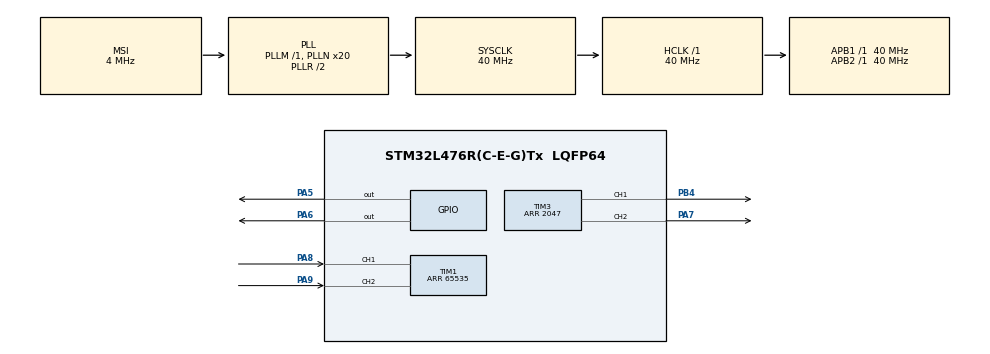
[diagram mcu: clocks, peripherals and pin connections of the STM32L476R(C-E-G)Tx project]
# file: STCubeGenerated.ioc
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Mcu.Family=STM32L4
Mcu.Name=STM32L476R(C-E-G)Tx
Mcu.Package=LQFP64
NVIC.PriorityGroup=NVIC_PRIORITYGROUP_4
PA13\ (JTMS-SWDIO).Mode=Trace_Asynchronous_SW
PA13\ (JTMS-SWDIO).Signal=SYS_JTMS-SWDIO
PA14\ (JTCK-SWCLK).Mode=Trace_Asynchronous_SW
PA14\ (JTCK-SWCLK).Signal=SYS_JTCK-SWCLK
PA5.Signal=GPIO_Output
PA6.Signal=GPIO_Output
PA7.Signal=S_TIM3_CH2
PA8.Signal=S_TIM1_CH1
PA9.Signal=S_TIM1_CH2
PB3\ (JTDO-TRACESWO).Mode=Trace_Asynchronous_SW
PB3\ (JTDO-TRACESWO).Signal=SYS_JTDO-SWO
PB4\ (NJTRST).Signal=S_TIM3_CH1
PH0-OSC_IN\ (PH0).Mode=HSE-External-Oscillator
PH0-OSC_IN\ (PH0).Signal=RCC_OSC_IN
PH1-OSC_OUT\ (PH1).Mode=HSE-External-Oscillator
PH1-OSC_OUT\ (PH1).Signal=RCC_OSC_OUT
ProjectManager.HeapSize=0x200
ProjectManager.StackSize=0x400
ProjectManager.TargetToolchain=MDK-ARM V5
RCC.AHBFreq_Value=40000000
RCC.APB1Freq_Value=40000000
RCC.APB1TimFreq_Value=40000000
RCC.APB2Freq_Value=40000000
RCC.APB2TimFreq_Value=40000000
RCC.CortexFreq_Value=40000000
RCC.HCLKFreq_Value=40000000
RCC.HSE_VALUE=8000000
RCC.HSI_VALUE=16000000
RCC.LSE_VALUE=32768
RCC.MSI_VALUE=4000000
RCC.PLLN=20
RCC.SYSCLKFreq_VALUE=40000000
RCC.SYSCLKSource=RCC_SYSCLKSOURCE_PLLCLK
RCC.VCOOutputFreq_Value=80000000
SH.S_TIM1_CH1.0=TIM1_CH1,Encoder_Interface
SH.S_TIM1_CH2.0=TIM1_CH2,Encoder_Interface
SH.S_TIM3_CH1.0=TIM3_CH1,PWM Generation1 CH1
SH.S_TIM3_CH2.0=TIM3_CH2,PWM Generation2 CH2
TIM1.EncoderMode=TIM_ENCODERMODE_TI12
TIM1.Period=65535
TIM3.Channel-PWM\ Generation1\ CH1=TIM_CHANNEL_1
TIM3.Channel-PWM\ Generation2\ CH2=TIM_CHANNEL_2
TIM3.Period=2047
board=custom

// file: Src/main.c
/* USER CODE BEGIN Header */
/**
  ******************************************************************************
  * @file           : main.c
  * @brief          : Main program body
  ******************************************************************************
  * @attention
  *
  * <h2><center>&copy; Copyright (c) 2026 STMicroelectronics.
  * All rights reserved.</center></h2>
  *
  * This software component is licensed by ST under BSD 3-Clause license,
  * the "License"; You may not use this file except in compliance with the
  * License. You may obtain a copy of the License at:
  *                        opensource.org/licenses/BSD-3-Clause
  *
  ******************************************************************************
  */
/* USER CODE END Header */

#include "main.h"

/* USER CODE BEGIN Includes */
#include <stdio.h>
#include "application.h"
/* USER CODE END Includes */

TIM_HandleTypeDef htim1;
TIM_HandleTypeDef htim3;

void SystemClock_Config(void);
static void MX_GPIO_Init(void);
static void MX_TIM3_Init(void);
static void MX_TIM1_Init(void);

/* USER CODE BEGIN 0 */
inline uint32_t Main_GetTickMillisec(void)
{
#ifdef __RTX
  #if defined (osCMSIS) && (osCMSIS < 0x20000U)
    extern uint32_t os_time;
    return os_time;
  #else
    extern uint32_t osKernelGetTickCount();
    return osKernelGetTickCount();
  #endif
#else
	return HAL_GetTick();
#endif
}
/* USER CODE END 0 */

int main(void)
{

  /* MCU Configuration--------------------------------------------------------*/

  /* Reset of all peripherals, Initializes the Flash interface and the Systick. */
  HAL_Init();

  /* Configure the system clock */
  SystemClock_Config();

  /* Initialize all configured peripherals */
  MX_GPIO_Init();
  MX_TIM3_Init();
  MX_TIM1_Init();
  /* USER CODE BEGIN 2 */
	Application_Setup();
  /* USER CODE END 2 */

  /* Infinite loop */
  /* USER CODE BEGIN WHILE */
  while (1)
  {
		Application_Loop();
    /* USER CODE END WHILE */

  }
}

void SystemClock_Config(void)
{
  RCC_OscInitTypeDef RCC_OscInitStruct = {0};
  RCC_ClkInitTypeDef RCC_ClkInitStruct = {0};

  /** Initializes the CPU, AHB and APB busses clocks
  */
  RCC_OscInitStruct.OscillatorType = RCC_OSCILLATORTYPE_MSI;
  RCC_OscInitStruct.MSIState = RCC_MSI_ON;
  RCC_OscInitStruct.MSICalibrationValue = 0;
  RCC_OscInitStruct.MSIClockRange = RCC_MSIRANGE_6;
  RCC_OscInitStruct.PLL.PLLState = RCC_PLL_ON;
  RCC_OscInitStruct.PLL.PLLSource = RCC_PLLSOURCE_MSI;
  RCC_OscInitStruct.PLL.PLLM = 1;
  RCC_OscInitStruct.PLL.PLLN = 20;
  RCC_OscInitStruct.PLL.PLLP = RCC_PLLP_DIV7;
  RCC_OscInitStruct.PLL.PLLQ = RCC_PLLQ_DIV2;
  RCC_OscInitStruct.PLL.PLLR = RCC_PLLR_DIV2;
  if (HAL_RCC_OscConfig(&RCC_OscInitStruct) != HAL_OK)
  {
    Error_Handler();
  }
  /** Initializes the CPU, AHB and APB busses clocks
  */
  RCC_ClkInitStruct.ClockType = RCC_CLOCKTYPE_HCLK|RCC_CLOCKTYPE_SYSCLK
                              |RCC_CLOCKTYPE_PCLK1|RCC_CLOCKTYPE_PCLK2;
  RCC_ClkInitStruct.SYSCLKSource = RCC_SYSCLKSOURCE_PLLCLK;
  RCC_ClkInitStruct.AHBCLKDivider = RCC_SYSCLK_DIV1;
  RCC_ClkInitStruct.APB1CLKDivider = RCC_HCLK_DIV1;
  RCC_ClkInitStruct.APB2CLKDivider = RCC_HCLK_DIV1;

  if (HAL_RCC_ClockConfig(&RCC_ClkInitStruct, FLASH_LATENCY_2) != HAL_OK)
  {
    Error_Handler();
  }
  /** Configure the main internal regulator output voltage
  */
  if (HAL_PWREx_ControlVoltageScaling(PWR_REGULATOR_VOLTAGE_SCALE1) != HAL_OK)
  {
    Error_Handler();
  }
}

static void MX_TIM1_Init(void)
{

  TIM_Encoder_InitTypeDef sConfig = {0};
  TIM_MasterConfigTypeDef sMasterConfig = {0};

  htim1.Instance = TIM1;
  htim1.Init.Prescaler = 0;
  htim1.Init.CounterMode = TIM_COUNTERMODE_UP;
  htim1.Init.Period = 65535;
  htim1.Init.ClockDivision = TIM_CLOCKDIVISION_DIV1;
  htim1.Init.RepetitionCounter = 0;
  htim1.Init.AutoReloadPreload = TIM_AUTORELOAD_PRELOAD_DISABLE;
  sConfig.EncoderMode = TIM_ENCODERMODE_TI12;
  sConfig.IC1Polarity = TIM_ICPOLARITY_RISING;
  sConfig.IC1Selection = TIM_ICSELECTION_DIRECTTI;
  sConfig.IC1Prescaler = TIM_ICPSC_DIV1;
  sConfig.IC1Filter = 0;
  sConfig.IC2Polarity = TIM_ICPOLARITY_RISING;
  sConfig.IC2Selection = TIM_ICSELECTION_DIRECTTI;
  sConfig.IC2Prescaler = TIM_ICPSC_DIV1;
  sConfig.IC2Filter = 0;
  if (HAL_TIM_Encoder_Init(&htim1, &sConfig) != HAL_OK)
  {
    Error_Handler();
  }
  sMasterConfig.MasterOutputTrigger = TIM_TRGO_RESET;
  sMasterConfig.MasterOutputTrigger2 = TIM_TRGO2_RESET;
  sMasterConfig.MasterSlaveMode = TIM_MASTERSLAVEMODE_DISABLE;
  if (HAL_TIMEx_MasterConfigSynchronization(&htim1, &sMasterConfig) != HAL_OK)
  {
    Error_Handler();
  }
  /* USER CODE BEGIN TIM1_Init 2 */
	HAL_TIM_Encoder_Start(&htim1, TIM_CHANNEL_1);
	HAL_TIM_Encoder_Start(&htim1, TIM_CHANNEL_2);
  /* USER CODE END TIM1_Init 2 */

}

static void MX_TIM3_Init(void)
{

  TIM_MasterConfigTypeDef sMasterConfig = {0};
  TIM_OC_InitTypeDef sConfigOC = {0};

  htim3.Instance = TIM3;
  htim3.Init.Prescaler = 0;
  htim3.Init.CounterMode = TIM_COUNTERMODE_UP;
  htim3.Init.Period = 2047;
  htim3.Init.ClockDivision = TIM_CLOCKDIVISION_DIV1;
  htim3.Init.AutoReloadPreload = TIM_AUTORELOAD_PRELOAD_DISABLE;
  if (HAL_TIM_PWM_Init(&htim3) != HAL_OK)
  {
    Error_Handler();
  }
  sMasterConfig.MasterOutputTrigger = TIM_TRGO_RESET;
  sMasterConfig.MasterSlaveMode = TIM_MASTERSLAVEMODE_DISABLE;
  if (HAL_TIMEx_MasterConfigSynchronization(&htim3, &sMasterConfig) != HAL_OK)
  {
    Error_Handler();
  }
  sConfigOC.OCMode = TIM_OCMODE_PWM1;
  sConfigOC.Pulse = 0;
  sConfigOC.OCPolarity = TIM_OCPOLARITY_HIGH;
  sConfigOC.OCFastMode = TIM_OCFAST_DISABLE;
  if (HAL_TIM_PWM_ConfigChannel(&htim3, &sConfigOC, TIM_CHANNEL_1) != HAL_OK)
  {
    Error_Handler();
  }
  if (HAL_TIM_PWM_ConfigChannel(&htim3, &sConfigOC, TIM_CHANNEL_2) != HAL_OK)
  {
    Error_Handler();
  }
  /* USER CODE BEGIN TIM3_Init 2 */
	HAL_TIM_PWM_Start(&htim3, TIM_CHANNEL_1);
	HAL_TIM_PWM_Start(&htim3, TIM_CHANNEL_1);
  /* USER CODE END TIM3_Init 2 */
  HAL_TIM_MspPostInit(&htim3);

}

static void MX_GPIO_Init(void)
{
  GPIO_InitTypeDef GPIO_InitStruct = {0};

  /* GPIO Ports Clock Enable */
  __HAL_RCC_GPIOH_CLK_ENABLE();
  __HAL_RCC_GPIOA_CLK_ENABLE();
  __HAL_RCC_GPIOB_CLK_ENABLE();

  /*Configure GPIO pin Output Level */
  HAL_GPIO_WritePin(GPIOA, GPIO_PIN_5|GPIO_PIN_6, GPIO_PIN_RESET);

  /*Configure GPIO pins : PA5 PA6 */
  GPIO_InitStruct.Pin = GPIO_PIN_5|GPIO_PIN_6;
  GPIO_InitStruct.Mode = GPIO_MODE_OUTPUT_PP;
  GPIO_InitStruct.Pull = GPIO_NOPULL;
  GPIO_InitStruct.Speed = GPIO_SPEED_FREQ_LOW;
  HAL_GPIO_Init(GPIOA, &GPIO_InitStruct);

}

void Error_Handler(void)
{
}

/************************ (C) COPYRIGHT STMicroelectronics *****END OF FILE****/
